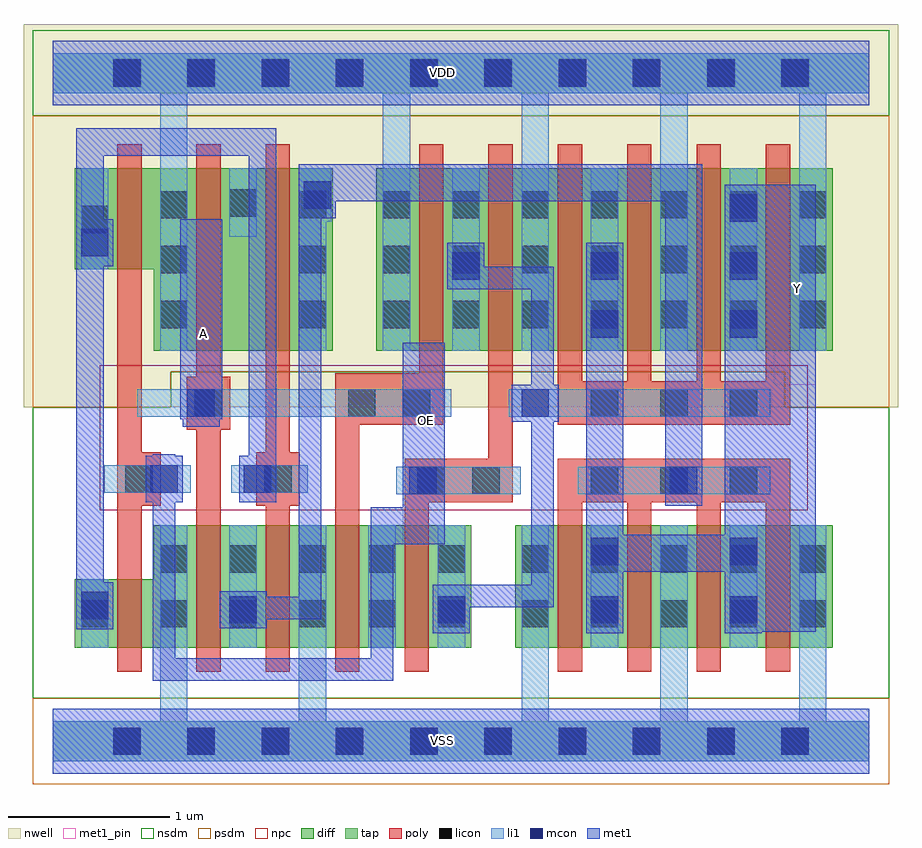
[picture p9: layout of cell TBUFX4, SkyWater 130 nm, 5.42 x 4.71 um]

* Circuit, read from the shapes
.subckt TBUFX4 A OE VDD VSS Y
XM1 VSS OE n1 VSS sky130_fd_pr__nfet_01v8 w=0.425 l=0.15
XM2 n2 A VSS VSS sky130_fd_pr__nfet_01v8 w=0.76 l=0.15
XM3 VSS n1 n2 VSS sky130_fd_pr__nfet_01v8 w=0.76 l=0.15
XM4 n3 A VSS VSS sky130_fd_pr__nfet_01v8 w=0.76 l=0.15
XM5 n4 OE n3 VSS sky130_fd_pr__nfet_01v8 w=0.76 l=0.15
XM6 Y n2 VSS VSS sky130_fd_pr__nfet_01v8 w=0.76 l=0.15 m=4
XM7 VDD OE n1 VDD sky130_fd_pr__pfet_01v8 w=0.625 l=0.15
XM8 n5 A VDD VDD sky130_fd_pr__pfet_01v8 w=1.13 l=0.15
XM9 n2 n1 n5 VDD sky130_fd_pr__pfet_01v8 w=1.13 l=0.15
XM10 n4 A VDD VDD sky130_fd_pr__pfet_01v8 w=1.13 l=0.15
XM11 VDD OE n4 VDD sky130_fd_pr__pfet_01v8 w=1.13 l=0.15
XM12 Y n4 VDD VDD sky130_fd_pr__pfet_01v8 w=1.13 l=0.15 m=4
.ends

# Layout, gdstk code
from math import pi, radians
import gdstk
lib = gdstk.Library(unit=1e-6, precision=1e-09)
def R(c, l, rs):  # rectangles x0, y0, x1, y1
    for r in rs: c.add(gdstk.rectangle(r[:2], r[2:], *l))
def A(c, l, x, y, w, h, nx, ny, dx, dy):  # array of equal rectangles
    R(c, l, [(x+i*dx, y+j*dy, x+i*dx+w, y+j*dy+h) for i in range(nx) for j in range(ny)])
def P(c, l, *ps):  # polygons
    for p in ps: c.add(gdstk.Polygon(p, *l))
nwell = (64, 20)
diff = (65, 20)
tap = (65, 44)
poly = (66, 20)
licon = (66, 44)
li1 = (67, 20)
mcon = (67, 44)
met1_pin = (68, 16)
met1 = (68, 20)
nsdm = (93, 44)
psdm = (94, 20)
npc = (95, 20)

l1m1_c_cdns_758728262100 = lib.new_cell('L1M1_C_CDNS_758728262100')
R(l1m1_c_cdns_758728262100, li1, [(-0.165,-0.085,0.165,0.085)])
R(l1m1_c_cdns_758728262100, mcon, [(-0.085,-0.085,0.085,0.085)])
R(l1m1_c_cdns_758728262100, met1, [(-0.115,-0.145,0.115,0.145)])

pyl1con_c_cdns_758728262 = lib.new_cell('PYL1CON_C_CDNS_758728262102')
R(pyl1con_c_cdns_758728262, poly, [(-0.135,-0.165,0.135,0.165)])
R(pyl1con_c_cdns_758728262, licon, [(-0.085,-0.085,0.085,0.085)])
R(pyl1con_c_cdns_758728262, npc, [(-0.185,-0.185,0.185,0.185)])

l1m1_c_cdns_758728262101 = lib.new_cell('L1M1_C_CDNS_758728262101')
R(l1m1_c_cdns_758728262101, li1, [(-0.085,-0.165,0.085,0.165)])
R(l1m1_c_cdns_758728262101, mcon, [(-0.085,-0.085,0.085,0.085)])
R(l1m1_c_cdns_758728262101, met1, [(-0.115,-0.145,0.115,0.145)])

l1m1_c_cdns_758728262104 = lib.new_cell('L1M1_C_CDNS_758728262104')
R(l1m1_c_cdns_758728262104, li1, [(-0.085,-0.345,0.085,0.345)])
R(l1m1_c_cdns_758728262104, mcon, [(-0.085,-0.265,0.085,-0.095), (-0.085,0.095,0.085,0.265)])
R(l1m1_c_cdns_758728262104, met1, [(-0.115,-0.325,0.115,0.325)])

c_l1m1_c_cdns_758728262101 = lib.new_cell('L1M1_C_CDNS_7587282621012')
R(c_l1m1_c_cdns_758728262101, li1, [(-0.085,-0.525,0.085,0.525)])
A(c_l1m1_c_cdns_758728262101, mcon, -0.085, -0.445, 0.17, 0.17, 1, 3, 0, 0.36)
R(c_l1m1_c_cdns_758728262101, met1, [(-0.115,-0.505,0.115,0.505)])

licondiff_c_cdns_7587282 = lib.new_cell('LICONDIFF_C_CDNS_7587282621010')
R(licondiff_c_cdns_7587282, diff, [(-0.125,-0.145,0.125,0.145)])
R(licondiff_c_cdns_7587282, licon, [(-0.085,-0.085,0.085,0.085), (-0.085,-0.085,0.085,0.085)])

l1m1_c_cdns_758728262103 = lib.new_cell('L1M1_C_CDNS_758728262103')
R(l1m1_c_cdns_758728262103, li1, [(-0.085,-0.165,0.085,0.165)])
R(l1m1_c_cdns_758728262103, mcon, [(-0.085,-0.085,0.085,0.085)])
R(l1m1_c_cdns_758728262103, met1, [(-0.145,-0.115,0.145,0.115)])

tbufx4 = lib.new_cell('TBUFX4')
R(tbufx4, nwell, [(-0.18,2.07,5.24,4.445)])
R(tbufx4, diff, [(2.865,0.58,4.835,1.34), (2.005,2.42,4.835,3.55)])
P(tbufx4, diff, [(1.735,3.55),(0.135,3.55),(0.135,2.925),(0.625,2.925),(0.625,2.42),(1.735,2.42)],
  [(2.595,1.34),(0.625,1.34),(0.625,1.005),(0.135,1.005),(0.135,0.58),(2.595,0.58)])
A(tbufx4, poly, 3.13, 0.43, 0.15, 1.32, 4, 1, 0.43, 0)
A(tbufx4, poly, 3.13, 1.96, 0.15, 1.74, 4, 1, 0.43, 0)
R(tbufx4, poly, [(0.4,0.43,0.55,3.7), (0.89,0.43,1.04,3.7), (1.32,0.43,1.47,3.7)])
P(tbufx4, poly, [(2.42,3.7),(2.27,3.7),(2.27,2.28),(1.75,2.28),(1.75,0.43),(1.9,0.43),(1.9,1.96),(2.42,1.96)],
  [(2.85,3.7),(2.7,3.7),(2.7,1.75),(2.18,1.75),(2.18,0.43),(2.33,0.43),(2.33,1.48),(2.85,1.48)])
A(tbufx4, licon, 0.375, -0.085, 0.17, 0.17, 10, 2, 0.46, 4.14)
A(tbufx4, licon, 0.665, 0.705, 0.17, 0.17, 5, 2, 0.43, 0.34)
A(tbufx4, licon, 2.905, 0.705, 0.17, 0.17, 5, 2, 0.43, 0.34)
A(tbufx4, licon, 0.665, 2.56, 0.17, 0.17, 1, 3, 0, 0.34)
A(tbufx4, licon, 1.525, 2.56, 0.17, 0.17, 1, 3, 0, 0.34)
A(tbufx4, licon, 2.045, 2.56, 0.17, 0.17, 7, 3, 0.43, 0.34)
R(tbufx4, licon, [(0.175,0.705,0.345,0.875), (0.175,3.15,0.345,3.32)])
A(tbufx4, li1, 2.475, 2.42, 0.17, 1.13, 3, 1, 0.86, 0)
R(tbufx4, li1, [(0.175,0.58,0.345,1.005), (1.095,0.58,1.265,1.34), (1.955,0.58,2.125,1.34), (2.385,0.58,2.555,1.34), (3.335,0.58,3.505,1.34), (4.195,0.58,4.365,1.34), (1.525,2.42,1.695,3.55), (0.175,2.925,0.345,3.55)])
P(tbufx4, li1, [(5.06,4.265),(0,4.265),(0,4.015),(0.665,4.015),(0.665,2.42),(0.835,2.42),(0.835,4.015),(2.045,4.015),(2.045,2.42),(2.215,2.42),(2.215,4.015),(2.905,4.015),(2.905,2.42),(3.075,2.42),(3.075,4.015),(3.765,4.015),(3.765,2.42),(3.935,2.42),(3.935,4.015),(4.625,4.015),(4.625,2.42),(4.795,2.42),(4.795,4.015),(5.06,4.015)],
  [(5.06,0.125),(4.795,0.125),(4.795,1.34),(4.625,1.34),(4.625,0.125),(3.935,0.125),(3.935,1.34),(3.765,1.34),(3.765,0.125),(3.075,0.125),(3.075,1.34),(2.905,1.34),(2.905,0.125),(1.695,0.125),(1.695,1.34),(1.525,1.34),(1.525,0.125),(0.835,0.125),(0.835,1.34),(0.665,1.34),(0.665,0.125),(0,0.125),(0,-0.125),(5.06,-0.125)])
A(tbufx4, mcon, 0.375, -0.085, 0.17, 0.17, 10, 2, 0.46, 4.14)
R(tbufx4, met1_pin, [(2.17,1.22,2.43,2.47), (0.79,1.995,1.05,3.235), (4.47,2.21,4.73,3.45)])
P(tbufx4, met1, [(2.43,2.47),(2.17,2.47),(2.17,1.45),(1.97,1.45),(1.97,0.515),(0.76,0.515),(0.76,1.78),(0.62,1.78),(0.62,0.375),(2.11,0.375),(2.11,1.22),(2.43,1.22)],
  [(3.105,2.94),(2.56,2.94),(2.56,2.8),(2.965,2.8),(2.965,0.97),(2.355,0.97),(2.355,0.815),(2.585,0.815),(2.585,0.83),(3.105,0.83)],
  [(4.025,3.575),(1.525,3.575),(1.525,0.895),(1.035,0.895),(1.035,0.755),(1.665,0.755),(1.665,3.345),(3.795,3.345),(3.795,1.46),(4.025,1.46)],
  [(4.73,3.45),(4.165,3.45),(4.165,1.28),(3.535,1.28),(3.535,3.09),(3.305,3.09),(3.305,0.68),(3.535,0.68),(3.535,1.05),(4.165,1.05),(4.165,0.68),(4.73,0.68)])
R(tbufx4, nsdm, [(-0.125,3.875,5.185,4.405)])
P(tbufx4, nsdm, [(5.185,2.07),(4.535,2.07),(4.535,2.29),(0.73,2.29),(0.73,2.07),(-0.125,2.07),(-0.125,0.265),(5.185,0.265)])
R(tbufx4, psdm, [(-0.125,-0.265,5.185,0.265)])
P(tbufx4, psdm, [(5.185,3.875),(-0.125,3.875),(-0.125,2.07),(0.73,2.07),(0.73,2.29),(4.535,2.29),(4.535,2.07),(5.185,2.07)])
R(tbufx4, npc, [(0.29,1.43,4.68,2.33)])
tbufx4.add(gdstk.FlexPath([(0,4.14),(5.06,4.14)], 0.4, ends="flush", simple_path=True, layer=68, datatype=16))  # met1_pin
tbufx4.add(gdstk.FlexPath([(0,0),(5.06,0)], 0.4, ends="flush", simple_path=True, layer=68, datatype=16))  # met1_pin
tbufx4.add(gdstk.FlexPath([(0.92,1.995),(0.92,3.235)], 0.26, ends="flush", simple_path=True, layer=68, datatype=20))  # met1
tbufx4.add(gdstk.FlexPath([(0,0),(5.06,0)], 0.4, ends="flush", simple_path=True, layer=68, datatype=20))  # met1
tbufx4.add(gdstk.FlexPath([(1.3,1.49),(1.3,3.715),(0.23,3.715),(0.23,0.705)], 0.17, ends="flush", simple_path=True, layer=68, datatype=20))  # met1
tbufx4.add(gdstk.FlexPath([(0,4.14),(5.06,4.14)], 0.4, ends="flush", simple_path=True, layer=68, datatype=20))  # met1
tbufx4.add(gdstk.FlexPath([(2.9,1.615),(2.13,1.615)], 0.17, ends="flush", simple_path=True, layer=67, datatype=20))  # li1
tbufx4.add(gdstk.FlexPath([(0.855,1.625),(0.32,1.625)], 0.17, ends="flush", simple_path=True, layer=67, datatype=20))  # li1
tbufx4.add(gdstk.FlexPath([(2.47,2.095),(0.525,2.095)], 0.17, ends="flush", simple_path=True, layer=67, datatype=20))  # li1
tbufx4.add(gdstk.FlexPath([(3.255,1.615),(4.445,1.615)], 0.17, ends="flush", simple_path=True, layer=67, datatype=20))  # li1
tbufx4.add(gdstk.FlexPath([(1.18,3.125),(1.18,3.55)], 0.17, ends="flush", simple_path=True, layer=67, datatype=20))  # li1
tbufx4.add(gdstk.FlexPath([(2.825,2.095),(4.445,2.095)], 0.17, ends="flush", simple_path=True, layer=67, datatype=20))  # li1
tbufx4.add(gdstk.FlexPath([(1.58,1.625),(1.105,1.625)], 0.17, ends="flush", simple_path=True, layer=67, datatype=20))  # li1
tbufx4.add(gdstk.FlexPath([(0,0),(5.06,0)], 0.25, ends="flush", simple_path=True, layer=65, datatype=44))  # tap
tbufx4.add(gdstk.FlexPath([(0,4.14),(5.06,4.14)], 0.25, ends="flush", simple_path=True, layer=65, datatype=44))  # tap
tbufx4.add(gdstk.Reference(l1m1_c_cdns_758728262100, (2.295,1.615), rotation=pi))
tbufx4.add(gdstk.Reference(l1m1_c_cdns_758728262100, (1.27,1.625), rotation=pi))
tbufx4.add(gdstk.Reference(l1m1_c_cdns_758728262100, (0.92,2.095), x_reflection=True))
tbufx4.add(gdstk.Reference(l1m1_c_cdns_758728262100, (3.91,1.615)))
tbufx4.add(gdstk.Reference(l1m1_c_cdns_758728262100, (0.69,1.625), x_reflection=True))
tbufx4.add(gdstk.Reference(pyl1con_c_cdns_758728262, (1.915,2.095), rotation=3*pi/2))
tbufx4.add(gdstk.Reference(pyl1con_c_cdns_758728262, (2.685,1.615), rotation=3*pi/2))
tbufx4.add(gdstk.Reference(pyl1con_c_cdns_758728262, (0.965,2.095)))
tbufx4.add(gdstk.Reference(pyl1con_c_cdns_758728262, (2.345,1.615), rotation=3*pi/2))
tbufx4.add(gdstk.Reference(pyl1con_c_cdns_758728262, (1.395,1.625)))
tbufx4.add(gdstk.Reference(pyl1con_c_cdns_758728262, (0.535,1.625), rotation=pi, x_reflection=True))
tbufx4.add(gdstk.Reference(pyl1con_c_cdns_758728262, (3.42,1.615), rotation=3*pi/2))
tbufx4.add(gdstk.Reference(pyl1con_c_cdns_758728262, (4.28,1.615), rotation=3*pi/2))
tbufx4.add(gdstk.Reference(pyl1con_c_cdns_758728262, (3.85,1.615), rotation=3*pi/2))
tbufx4.add(gdstk.Reference(pyl1con_c_cdns_758728262, (2.255,2.095), rotation=3*pi/2))
tbufx4.add(gdstk.Reference(pyl1con_c_cdns_758728262, (4.28,2.095), rotation=3*pi/2))
tbufx4.add(gdstk.Reference(pyl1con_c_cdns_758728262, (3.85,2.095), rotation=3*pi/2))
tbufx4.add(gdstk.Reference(pyl1con_c_cdns_758728262, (3.42,2.095), rotation=3*pi/2))
tbufx4.add(gdstk.Reference(l1m1_c_cdns_758728262101, (1.64,3.385)))
tbufx4.add(gdstk.Reference(l1m1_c_cdns_758728262101, (2.47,0.815)))
tbufx4.add(gdstk.Reference(l1m1_c_cdns_758728262101, (2.56,2.945)))
tbufx4.add(gdstk.Reference(l1m1_c_cdns_758728262101, (2.99,2.095), rotation=pi/2))
tbufx4.add(gdstk.Reference(l1m1_c_cdns_758728262101, (0.26,3.09), rotation=pi, x_reflection=True))
tbufx4.add(gdstk.Reference(l1m1_c_cdns_758728262101, (0.26,0.84), rotation=pi, x_reflection=True))
tbufx4.add(gdstk.Reference(l1m1_c_cdns_758728262104, (3.42,0.995)))
tbufx4.add(gdstk.Reference(l1m1_c_cdns_758728262104, (3.42,2.765)))
tbufx4.add(gdstk.Reference(l1m1_c_cdns_758728262104, (4.28,0.995)))
tbufx4.add(gdstk.Reference(c_l1m1_c_cdns_758728262101, (4.28,2.945)))
tbufx4.add(gdstk.Reference(licondiff_c_cdns_7587282, (1.18,3.335)))
tbufx4.add(gdstk.Reference(licondiff_c_cdns_7587282, (2.04,0.79)))
tbufx4.add(gdstk.Reference(l1m1_c_cdns_758728262103, (1.18,0.815)))
tbufx4.add(gdstk.Label('VSS', (2.415,0.005), layer=68, texttype=5))
tbufx4.add(gdstk.Label('Y', (4.615,2.805), layer=68, texttype=5))
tbufx4.add(gdstk.Label('OE', (2.315,1.99), layer=68, texttype=5))
tbufx4.add(gdstk.Label('A', (0.935,2.525), layer=68, texttype=5))
tbufx4.add(gdstk.Label('VDD', (2.415,4.145), layer=68, texttype=5))

lib.write_gds('TBUFX4.gds')
